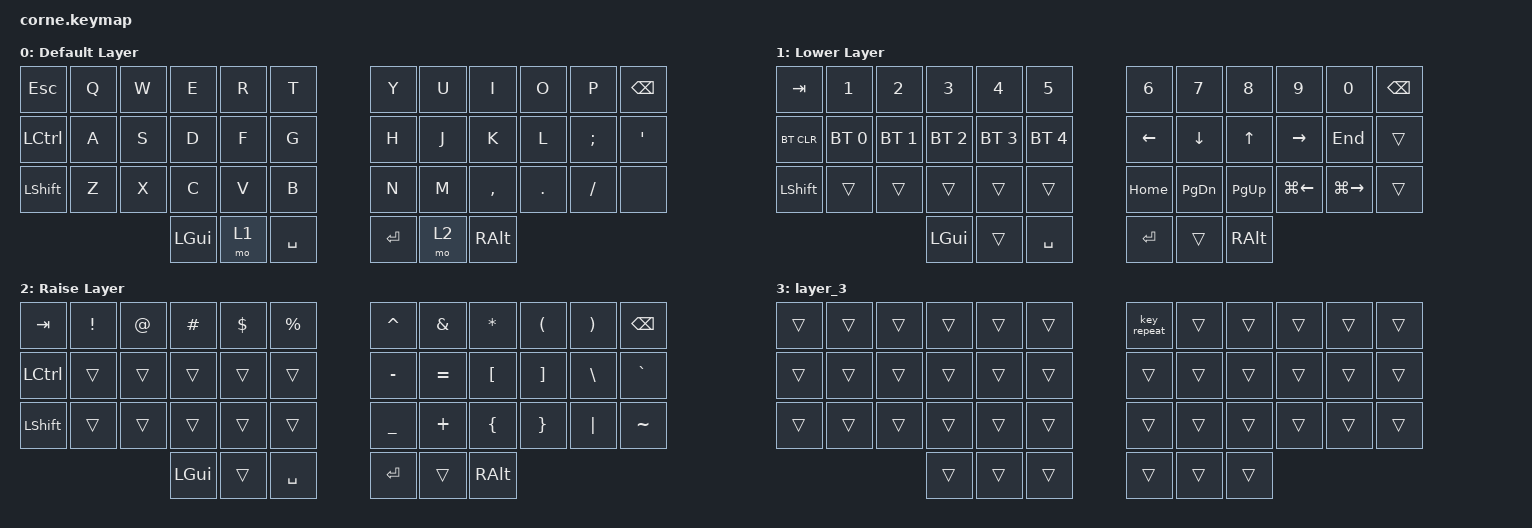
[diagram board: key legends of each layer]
/*
 * Copyright (c) 2020 The ZMK Contributors
 *
 * SPDX-License-Identifier: MIT
 */

#include <behaviors.dtsi>
#include <dt-bindings/zmk/bt.h>
#include <dt-bindings/zmk/keys.h>

/ {
    keymap {
        compatible = "zmk,keymap";

        default_layer {
            display-name = "Default Layer";

            // -----------------------------------------------------------------------------------------
            // |  ESC |  Q  |  W  |  E  |  R  |  T  |   |  Y  |  U   |  I  |  O  |  P  | BSPC |
            // | CTRL |  A  |  S  |  D  |  F  |  G  |   |  H  |  J   |  K  |  L  |  ;  |  '   |
            // | SHFT |  Z  |  X  |  C  |  V  |  B  |   |  N  |  M   |  ,  |  .  |  /  |      |
            //                    | GUI | LWR | SPC |   | ENT | RSE  | ALT |

            bindings = <
&kp ESC    &kp Q  &kp W  &kp E     &kp R  &kp T        &kp Y    &kp U  &kp I      &kp O    &kp P     &kp BSPC
&kp LCTRL  &kp A  &kp S  &kp D     &kp F  &kp G        &kp H    &kp J  &kp K      &kp L    &kp SEMI  &kp SQT
&kp LSHFT  &kp Z  &kp X  &kp C     &kp V  &kp B        &kp N    &kp M  &kp COMMA  &kp DOT  &kp FSLH  &none
                         &kp LGUI  &mo 1  &kp SPACE    &kp RET  &mo 2  &kp RALT
            >;
        };

        lower_layer {
            display-name = "Lower Layer";

            // -----------------------------------------------------------------------------------------
            // |  TAB |  1  |  2  |  3  |  4  |  5  |   |  6   |  7   |  8   |  9   |  0  | BSPC |
            // | BTCLR| BT1 | BT2 | BT3 | BT4 | BT5 |   | LEFT | DOWN |  UP  | RIGHT| END |      |
            // | SHFT |     |     |     |     |     |   | HOME | PgDn | PgUp |  ⌘←  |  ⌘→ |      |
            //                    | GUI |     | SPC |   | ENT  |      | ALT  |
            //
            // Right hand carries the vim Nav semantics on top of the existing
            // arrow row. Layout rationale:
            //   END sits to the right of RIGHT (line-end anchor on the right
            //     edge of the arrow row).
            //   HOME sits under LEFT (line-start anchor on the left edge of
            //     the row below).
            //   PgDn / PgUp stack under DOWN / UP so half-page jumps mirror
            //     single-line arrows directionally.
            //   Word jumps (⌘← / ⌘→) live to the right of the page jumps so
            //     the wider "skip-by-word" motion sits under stronger fingers.
            // Letter-position symmetry with the Karabiner Caps layer is
            // partial: ProtoArc/MacBook use the canonical vim positions
            // (Caps+0=Home, Caps+$=End, Caps+w/b=word, Caps+u/d=page) because
            // full-size keyboards have the digit row available. Corne's lower
            // layer is shared with numbers + Bluetooth, so the Nav semantics
            // are placed by ergonomics rather than by letter-under-finger.

            bindings = <
&kp TAB     &kp N1        &kp N2        &kp N3        &kp N4        &kp N5          &kp N6    &kp N7     &kp N8     &kp N9        &kp N0         &kp BSPC
&bt BT_CLR  &bt BT_SEL 0  &bt BT_SEL 1  &bt BT_SEL 2  &bt BT_SEL 3  &bt BT_SEL 4    &kp LEFT  &kp DOWN   &kp UP     &kp RIGHT     &kp END        &trans
&kp LSHFT   &trans        &trans        &trans        &trans        &trans          &kp HOME  &kp PG_DN  &kp PG_UP  &kp LG(LEFT)  &kp LG(RIGHT)  &trans
                                        &kp LGUI      &trans        &kp SPACE       &kp RET   &trans     &kp RALT
            >;
        };

        raise_layer {
            display-name = "Raise Layer";

            // -----------------------------------------------------------------------------------------
            // |  TAB |  !  |  @  |  #  |  $  |  %  |   |  ^  |  &  |  *  |  (  |  )  | BSPC |
            // | CTRL |     |     |     |     |     |   |  -  |  =  |  [  |  ]  |  \  |  `   |
            // | SHFT |     |     |     |     |     |   |  _  |  +  |  {  |  }  | "|" |  ~   |
            //                    | GUI |     | SPC |   | ENT |     | ALT |

            bindings = <
&kp TAB    &kp EXCL  &kp AT  &kp HASH  &kp DLLR  &kp PRCNT    &kp CARET  &kp AMPS   &kp ASTRK  &kp LPAR  &kp RPAR  &kp BSPC
&kp LCTRL  &trans    &trans  &trans    &trans    &trans       &kp MINUS  &kp EQUAL  &kp LBKT   &kp RBKT  &kp BSLH  &kp GRAVE
&kp LSHFT  &trans    &trans  &trans    &trans    &trans       &kp UNDER  &kp PLUS   &kp LBRC   &kp RBRC  &kp PIPE  &kp TILDE
                             &kp LGUI  &trans    &kp SPACE    &kp RET    &trans     &kp RALT
            >;
        };

        layer_3 {
            bindings = <
&trans  &trans  &trans  &trans  &trans  &trans    &key_repeat  &trans  &trans  &trans  &trans  &trans
&trans  &trans  &trans  &trans  &trans  &trans    &trans       &trans  &trans  &trans  &trans  &trans
&trans  &trans  &trans  &trans  &trans  &trans    &trans       &trans  &trans  &trans  &trans  &trans
                        &trans  &trans  &trans    &trans       &trans  &trans
            >;
        };
    };
};
